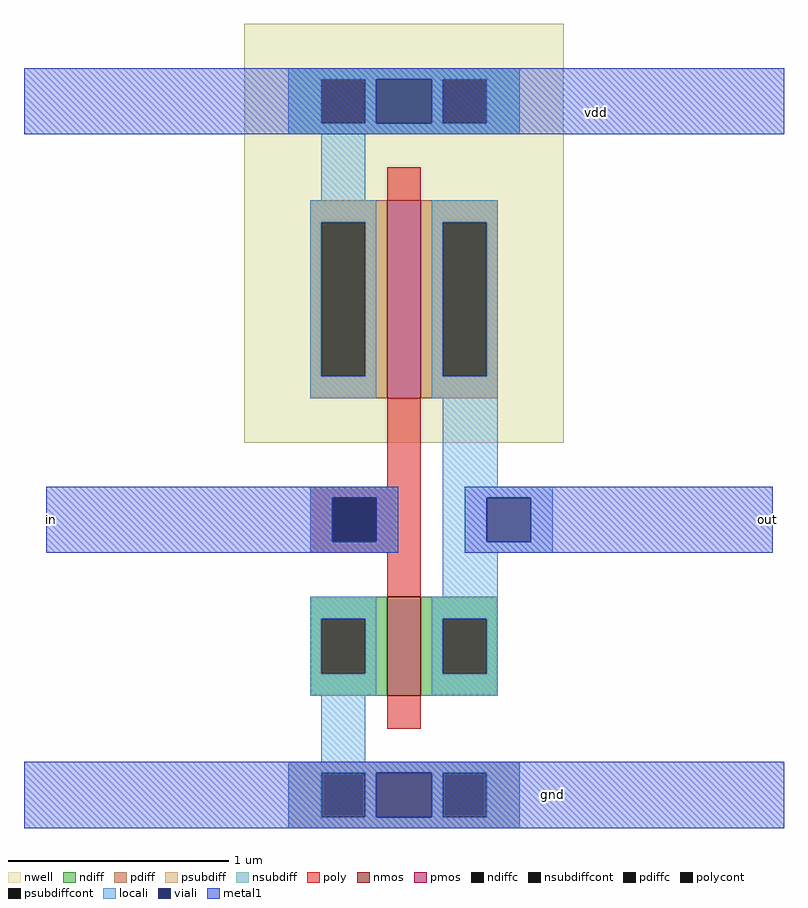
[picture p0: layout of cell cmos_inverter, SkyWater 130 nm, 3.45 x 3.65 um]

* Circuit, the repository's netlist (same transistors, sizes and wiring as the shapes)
* SPICE3 file created from cmos_inverter.ext - technology: sky130A

X0 out in vdd vdd sky130_fd_pr__pfet_01v8 ad=0.315 pd=2.5 as=0.315 ps=2.5 w=0.9 l=0.15
X1 out in gnd gnd sky130_fd_pr__nfet_01v8 ad=0.1575 pd=1.6 as=0.1575 ps=1.6 w=0.45 l=0.15

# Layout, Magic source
magic
tech sky130A
<< nwell >>
rect -20 0 125 190
<< nmos >>
rect 45 -115 60 -70
<< pmos >>
rect 45 20 60 110
<< ndiff >>
rect 10 -80 45 -70
rect 10 -105 15 -80
rect 35 -105 45 -80
rect 10 -115 45 -105
rect 60 -80 95 -70
rect 60 -105 70 -80
rect 90 -105 95 -80
rect 60 -115 95 -105
<< pdiff >>
rect 10 100 45 110
rect 10 30 15 100
rect 35 30 45 100
rect 10 20 45 30
rect 60 100 95 110
rect 60 30 70 100
rect 90 30 95 100
rect 60 20 95 30
<< ndiffc >>
rect 15 -105 35 -80
rect 70 -105 90 -80
<< pdiffc >>
rect 15 30 35 100
rect 70 30 90 100
<< psubdiff >>
rect 0 -150 105 -145
rect 0 -170 15 -150
rect 35 -170 70 -150
rect 90 -170 105 -150
rect 0 -175 105 -170
<< nsubdiff >>
rect 0 165 105 170
rect 0 145 15 165
rect 35 145 70 165
rect 90 145 105 165
rect 0 140 105 145
<< psubdiffcont >>
rect 15 -170 35 -150
rect 70 -170 90 -150
<< nsubdiffcont >>
rect 15 145 35 165
rect 70 145 90 165
<< poly >>
rect 45 110 60 125
rect 45 -20 60 20
rect 10 -25 60 -20
rect 10 -45 20 -25
rect 40 -45 60 -25
rect 10 -50 60 -45
rect 45 -70 60 -50
rect 45 -130 60 -115
<< polycont >>
rect 20 -45 40 -25
<< locali >>
rect 0 165 105 170
rect 0 145 15 165
rect 35 145 40 165
rect 65 145 70 165
rect 90 145 105 165
rect 0 140 105 145
rect 15 110 35 140
rect 10 100 40 110
rect 10 30 15 100
rect 35 30 40 100
rect 10 20 40 30
rect 65 100 95 110
rect 65 30 70 100
rect 90 30 95 100
rect 65 20 95 30
rect 70 -20 95 20
rect 10 -25 50 -20
rect 10 -45 20 -25
rect 40 -45 50 -25
rect 10 -50 50 -45
rect 70 -25 120 -20
rect 70 -45 90 -25
rect 110 -45 120 -25
rect 70 -50 120 -45
rect 70 -70 95 -50
rect 10 -80 40 -70
rect 10 -105 15 -80
rect 35 -105 40 -80
rect 10 -115 40 -105
rect 65 -80 95 -70
rect 65 -105 70 -80
rect 90 -105 95 -80
rect 65 -115 95 -105
rect 15 -145 35 -115
rect 0 -150 105 -145
rect 0 -170 15 -150
rect 35 -170 40 -150
rect 65 -170 70 -150
rect 90 -170 105 -150
rect 0 -175 105 -170
<< viali >>
rect 40 145 65 165
rect 20 -45 40 -25
rect 90 -45 110 -25
rect 40 -170 65 -150
<< metal1 >>
rect -120 165 225 170
rect -120 145 40 165
rect 65 145 225 165
rect -120 140 225 145
rect -110 -25 50 -20
rect -110 -45 20 -25
rect 40 -45 50 -25
rect -110 -50 50 -45
rect 80 -25 220 -20
rect 80 -45 90 -25
rect 110 -45 220 -25
rect 80 -50 220 -45
rect -120 -150 225 -145
rect -120 -170 40 -150
rect 65 -170 225 -150
rect -120 -175 225 -170
<< labels >>
rlabel metal1 120 -160 120 -160 1 gnd
rlabel metal1 140 150 140 150 1 vdd
rlabel metal1 -110 -50 -105 -20 1 in
rlabel metal1 215 -50 220 -20 1 out
<< end >>
